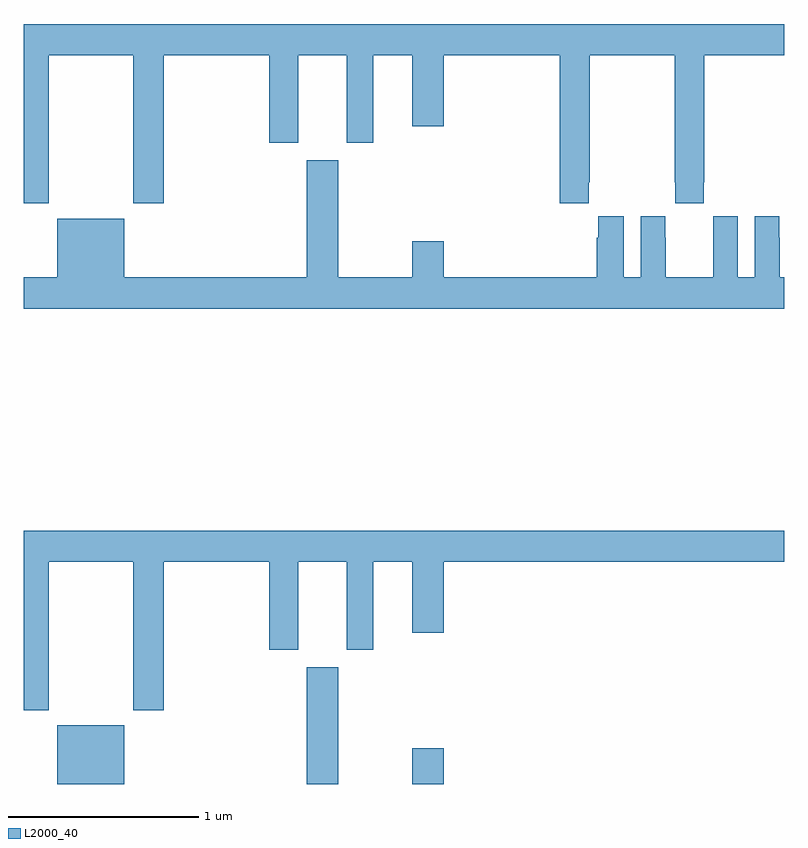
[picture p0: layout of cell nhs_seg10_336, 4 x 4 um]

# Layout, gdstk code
import gdstk
lib = gdstk.Library(unit=1e-6, precision=1e-09)
def R(c, l, rs):  # rectangles x0, y0, x1, y1
    for r in rs: c.add(gdstk.rectangle(r[:2], r[2:], *l))
def P(c, l, *ps):  # polygons
    for p in ps: c.add(gdstk.Polygon(p, *l))
L2000_40 = (2000, 40)

nhs_seg10_336 = lib.new_cell('nhs_seg10_336')
R(nhs_seg10_336, L2000_40, [(127.178,1280.5,127.528,1280.809), (128.489,1280.5,128.653,1281.115), (129.044,1280.5,129.208,1280.689)])
P(nhs_seg10_336, L2000_40, [(127.131,1284.332),(127.576,1284.332),(127.576,1283.553),(127.736,1283.553),(127.736,1284.332),(128.291,1284.332),(128.291,1283.871),(128.443,1283.871),(128.443,1284.332),(128.699,1284.332),(128.699,1283.871),(128.839,1283.871),(128.839,1284.332),(129.044,1284.332),(129.044,1283.958),(129.208,1283.958),(129.208,1284.332),(129.818,1284.332),(129.818,1283.553),(129.971,1283.553),(129.971,1283.665),(129.977,1283.665),(129.977,1284.332),(130.423,1284.332),(130.423,1283.665),(130.425,1283.665),(130.425,1283.553),(130.575,1283.553),(130.575,1283.665),(130.578,1283.665),(130.578,1284.332),(131,1284.332),(131,1284.496),(127,1284.496),(127,1283.553),(127.131,1283.553)],
  [(131,1283.164),(130.975,1283.164),(130.975,1283.372),(130.974,1283.372),(130.974,1283.485),(130.844,1283.485),(130.844,1283.164),(130.756,1283.164),(130.756,1283.485),(130.626,1283.485),(130.626,1283.372),(130.625,1283.372),(130.625,1283.164),(130.375,1283.164),(130.375,1283.372),(130.374,1283.372),(130.374,1283.485),(130.244,1283.485),(130.244,1283.164),(130.156,1283.164),(130.156,1283.485),(130.022,1283.485),(130.022,1283.372),(130.013,1283.372),(130.013,1283.164),(129.208,1283.164),(129.208,1283.353),(129.044,1283.353),(129.044,1283.164),(128.653,1283.164),(128.653,1283.779),(128.489,1283.779),(128.489,1283.164),(127.528,1283.164),(127.528,1283.473),(127.178,1283.473),(127.178,1283.164),(127,1283.164),(127,1283),(131,1283)],
  [(127.131,1281.668),(127.576,1281.668),(127.576,1280.889),(127.736,1280.889),(127.736,1281.668),(128.291,1281.668),(128.291,1281.207),(128.443,1281.207),(128.443,1281.668),(128.699,1281.668),(128.699,1281.207),(128.839,1281.207),(128.839,1281.668),(129.044,1281.668),(129.044,1281.294),(129.208,1281.294),(129.208,1281.668),(131,1281.668),(131,1281.832),(127,1281.832),(127,1280.889),(127.131,1280.889)])

lib.write_gds('nhs_seg10_336.gds')
